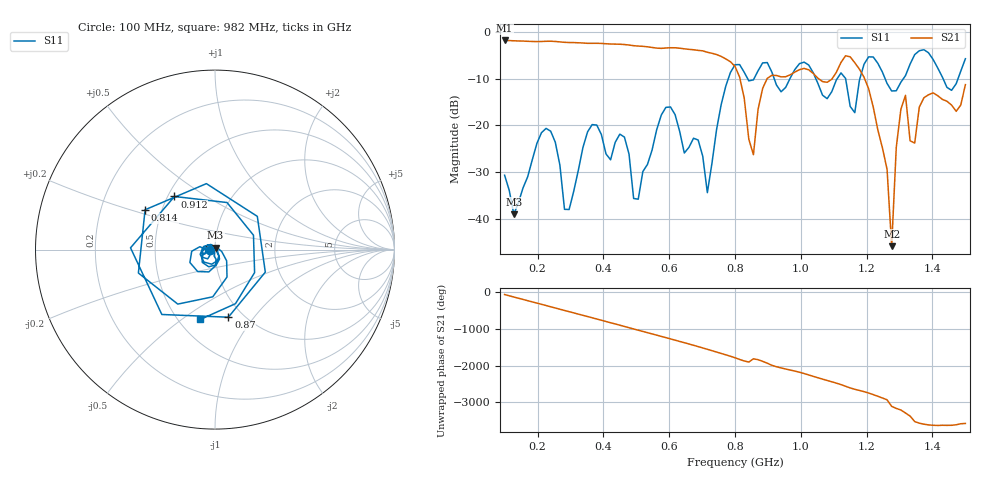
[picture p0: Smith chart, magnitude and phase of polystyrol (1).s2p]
! NanoVNA-App
! Date: 2025-09-25 15:29:54
! Start: 100MHz Stop: 1,5GHz Points: 101
! S-Parameter data: F S11 S21 S12 S22
# Hz S RI R 50
!  Frequency  S11_Real  S11_Imag  S21_Real  S21_Imag  S12_Real  S12_Imag  S22_Real  S22_Imag
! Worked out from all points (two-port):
!   101 points, 100 MHz to 1.5 GHz, reference 50 ohm
!   highest |S21| = -1.80 dB at 100 MHz (marker M1); lowest = -45.9 dB at 1.276 GHz (marker M2)
!   |S21| within 3 dB of the highest: start of sweep to 742.7 MHz
!   lowest |S11| = -39.1 dB at 128 MHz (marker M3), VSWR 1.02, Z = 50.3 + j1.06 ohm
!   |S11| at or under -10 dB: start of sweep to 779.7 MHz; 1.046 GHz to 1.11 GHz (64.86 MHz wide, 6.02 % of centre); 1.256 GHz to 1.312 GHz (55.41 MHz wide, 4.32 % of centre) (the widest 3 of 7)
!   S12 and S22 are empty: the file has one direction only
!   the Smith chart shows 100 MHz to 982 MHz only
!   S11 on the Smith chart (normalised r, x): 100 MHz: 0.94, -0.01; 814 MHz: 0.40, +0.22; 870 MHz: 0.85, -0.75; 912 MHz: 0.54, +0.37; 982 MHz: 0.64, -0.59
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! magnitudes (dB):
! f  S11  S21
! 100 MHz  -30.7  -1.8
! 128 MHz  -39.1  -1.9
! 212 MHz  -21.6  -2.0
! 282 MHz  -38.0  -2.2
! 338 MHz  -24.7  -2.3
! 464 MHz  -22.5  -2.7
! 506 MHz  -35.8  -3.0
! 576 MHz  -17.8  -3.5
! 716 MHz  -34.4  -4.3
! 800 MHz  -7.0  -7.4
! 814 MHz  -7.0  -9.6
! 856 MHz  -10.3  -26.3
! 870 MHz  -8.3  -16.6
! 912 MHz  -8.6  -9.3
! 982 MHz  -8.0  -8.6
! 1.038 GHz  -8.8  -8.9
! 1.192 GHz  -6.9  -9.7
! 1.262 GHz  -11.0  -29.4
! 1.276 GHz  -12.6  -45.9
! 1.318 GHz  -9.3  -13.6
! 1.346 GHz  -4.8  -23.8
! 1.5 GHz  -5.7  -11.3
